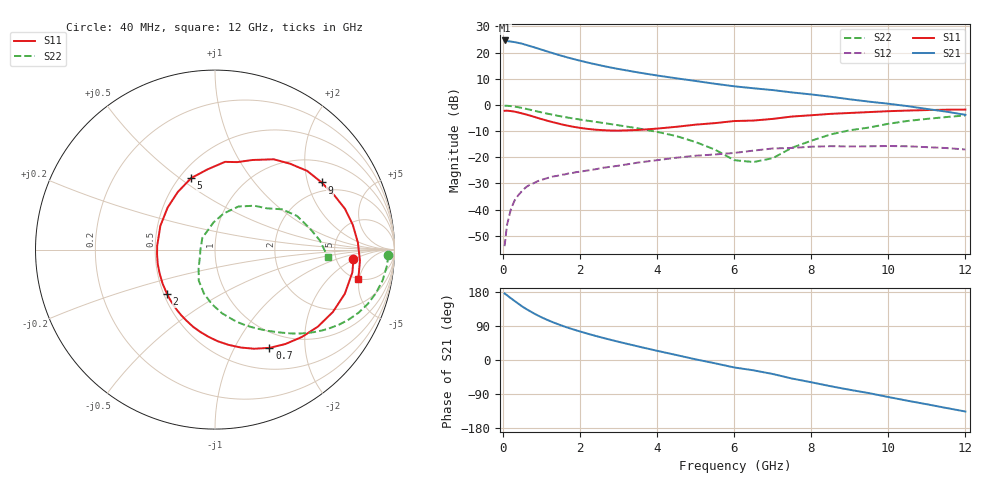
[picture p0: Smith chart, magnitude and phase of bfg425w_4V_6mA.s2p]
! Filename: 46bfg425.001
! BFG425W Field C1
! V1=8.248E-001V,V2=4.000E+000V, I1=6.283E-005A, I2=6.010E-003A
# GHz  S  MA  R 50
!  S11  S21  S12  S22
!Freq(GHz)  Mag  Ang  Mag  Ang  Mag  Ang  Mag  Ang
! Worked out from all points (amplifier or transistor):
!   44 points, 40 MHz to 12 GHz, reference 50 ohm
!   highest |S21| = 24.6 dB at 40 MHz (marker M1)
!   |S21| within 3 dB of that: start of sweep to 889.8 MHz
!   unconditionally stable (mu >= 1): 2.289 GHz to end of sweep
!   at 700 MHz: K = 0.40, MSG = 26.5 dB, |S12| = -30.5 dB
!   at 2.4 GHz: K = 1.03, MAG = 19.0 dB, |S12| = -24.6 dB
!   at 12 GHz: K = 1.47, MAG = 2.6 dB, |S12| = -17.0 dB
!   S11 on the Smith chart (normalised r, x): 40 MHz: 7.30, -1.91; 700 MHz: 0.77, -1.40; 2 GHz: 0.52, -0.30; 5 GHz: 0.57, +0.55; 9 GHz: 1.66, +2.45; 12 GHz: 5.00, -4.85
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0.04  0.773 -3.9  17.05 175.5  0.002 49.5  0.965 -1.9
0.2  0.764 -18.8  16.29 163.2  0.01 72.7  0.95 -10.3
0.4  0.716 -36.9  15.32 148.3  0.019 66.1  0.903 -19.6
0.5  0.686 -45.3  14.73 141.1  0.023 62.6  0.873 -23.8
0.7  0.626 -61.0  13.33 128.7  0.03 56.0  0.809 -31.1
0.8  0.594 -68.4  12.66 123.0  0.032 53.4  0.777 -34.2
1  0.536 -81.9  11.37 112.6  0.037 49.0  0.72 -39.6
1.3  0.466 -100.1  9.697 99.4  0.043 43.9  0.646 -46.4
1.6  0.412 -117.0  8.365 88.1  0.047 40.4  0.587 -51.9
2  0.364 -137.2  6.99 75.2  0.053 37.0  0.525 -58.6
2.2  0.348 -147.1  6.442 69.3  0.056 35.5  0.499 -61.9
3  0.323 176.6  4.854 48.0  0.069 29.6  0.408 -75.0
3.5  0.332 156.4  4.18 35.9  0.079 25.1  0.357 -83.7
4.5  0.382 122.9  3.225 13.1  0.098 14.1  0.254 -103.9
5  0.42 108.4  2.866 1.7  0.107 6.8  0.195 -117.6
6  0.492 83.5  2.27 -19.7  0.121 -7.4  0.088 -161.0
6.5  0.503 75.7  2.08 -27.2  0.134 -8.9  0.081 179.7
7.5  0.6 57.0  1.733 -48.9  0.151 -28.0  0.152 93.1
8.5  0.675 40.6  1.435 -69.2  0.163 -45.1  0.273 61.5
9  0.702 32.2  1.28 -78.6  0.161 -53.4  0.328 48.2
10.5  0.78 10.2  0.948 -107.6  0.162 -80.7  0.494 22.3
12  0.815 -11.5  0.647 -135.9  0.141 -111.7  0.63 -3.7
